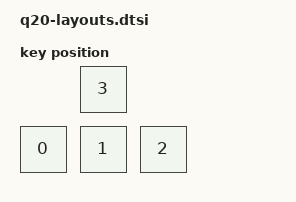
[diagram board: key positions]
#include <physical_layouts.dtsi>

/ {
    q20_layout: q20_layout {
        compatible = "zmk,physical-layout";
        display-name = "Q20: 3 keys + trackpad click";
        /* Schematic view; order MUST match the four keymap/transform positions. */
        keys = <&key_physical_attrs 100 100   0 120 0 0 0>,
               <&key_physical_attrs 100 100 120 120 0 0 0>,
               <&key_physical_attrs 100 100 240 120 0 0 0>,
               <&key_physical_attrs 100 100 120   0 0 0 0>;
    };
};
